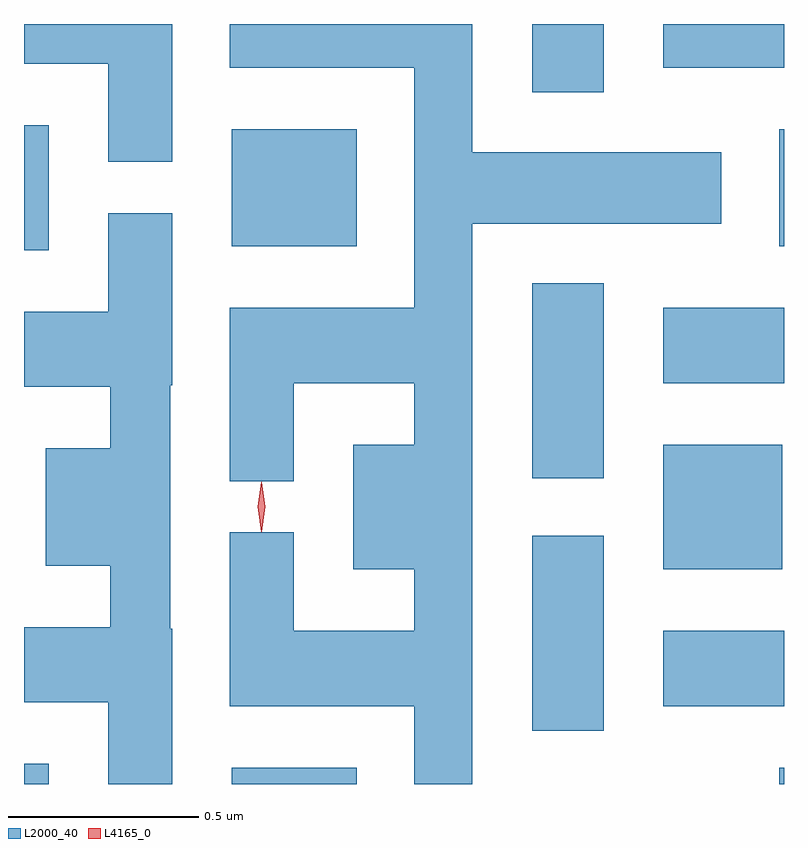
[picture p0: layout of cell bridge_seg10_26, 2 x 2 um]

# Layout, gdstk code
import gdstk
lib = gdstk.Library(unit=1e-6, precision=1e-09)
def R(c, l, rs):  # rectangles x0, y0, x1, y1
    for r in rs: c.add(gdstk.rectangle(r[:2], r[2:], *l))
def P(c, l, *ps):  # polygons
    for p in ps: c.add(gdstk.Polygon(p, *l))
L2000_40 = (2000, 40)
L4165_0 = (4165, 0)

bridge_seg10_26 = lib.new_cell('bridge_seg10_26')
R(bridge_seg10_26, L2000_40, [(1787.039,2166.761,1787.104,2166.814), (1787.586,2166.761,1787.914,2166.804), (1789.026,2166.761,1789.039,2166.804), (1788.376,2166.901,1788.564,2167.414), (1788.721,2166.966,1789.039,2167.164), (1788.721,2167.326,1789.034,2167.654), (1788.376,2167.566,1788.564,2168.079), (1788.721,2167.816,1789.039,2168.014), (1787.039,2168.166,1787.104,2168.494), (1787.586,2168.176,1787.914,2168.484), (1789.026,2168.176,1789.039,2168.484), (1788.376,2168.581,1788.564,2168.761), (1788.721,2168.646,1789.039,2168.761)])
P(bridge_seg10_26, L2000_40, [(1788.066,2167.326),(1788.066,2167.164),(1787.749,2167.164),(1787.749,2167.423),(1787.581,2167.423),(1787.581,2166.966),(1788.066,2166.966),(1788.066,2166.761),(1788.219,2166.761),(1788.219,2168.236),(1788.874,2168.236),(1788.874,2168.424),(1788.219,2168.424),(1788.219,2168.761),(1787.581,2168.761),(1787.581,2168.646),(1788.066,2168.646),(1788.066,2168.014),(1787.581,2168.014),(1787.581,2167.558),(1787.749,2167.558),(1787.749,2167.816),(1788.066,2167.816),(1788.066,2167.654),(1787.906,2167.654),(1787.906,2167.326)],
  [(1787.429,2168.761),(1787.039,2168.761),(1787.039,2168.656),(1787.261,2168.656),(1787.261,2168.398),(1787.429,2168.398)],
  [(1787.429,2167.17),(1787.424,2167.17),(1787.424,2167.81),(1787.429,2167.81),(1787.429,2168.263),(1787.261,2168.263),(1787.261,2168.004),(1787.039,2168.004),(1787.039,2167.806),(1787.266,2167.806),(1787.266,2167.644),(1787.096,2167.644),(1787.096,2167.336),(1787.266,2167.336),(1787.266,2167.174),(1787.039,2167.174),(1787.039,2166.976),(1787.261,2166.976),(1787.261,2166.761),(1787.429,2166.761)])
P(bridge_seg10_26, L4165_0, [(1787.664,2167.424),(1787.663,2167.425),(1787.654,2167.49),(1787.663,2167.555),(1787.664,2167.556),(1787.664,2167.555),(1787.674,2167.49),(1787.664,2167.425)])

lib.write_gds('bridge_seg10_26.gds')
